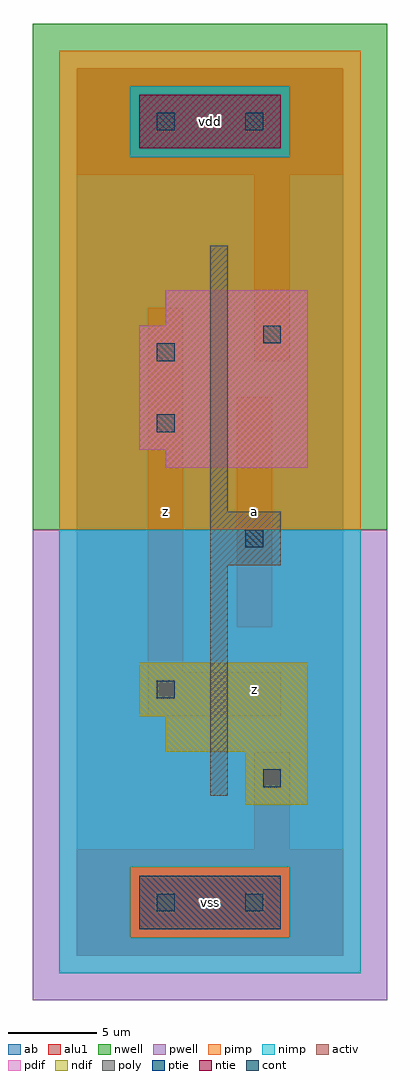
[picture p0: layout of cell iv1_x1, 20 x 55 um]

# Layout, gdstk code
import gdstk
lib = gdstk.Library(unit=1e-6, precision=1e-09)
def R(c, l, rs):  # rectangles x0, y0, x1, y1
    for r in rs: c.add(gdstk.rectangle(r[:2], r[2:], *l))
ndif = (3, 0)
pdif = (4, 0)
ntie = (5, 0)
ptie = (6, 0)
cont = (25, 0)
pwell = (41, 0)
nwell = (42, 0)
activ = (43, 0)
pimp = (44, 0)
nimp = (45, 0)
poly = (46, 0)
alu1 = (49, 0)
ab = (63, 0)

iv1_x1 = lib.new_cell('iv1_x1')
R(iv1_x1, ndif, [(9.5,8.5,13,11.5), (5,11.5,13,13.5), (3.5,13.5,13,16.5)])
R(iv1_x1, pdif, [(5,27.5,13,28.5), (3.5,28.5,13,35.5), (5,35.5,13,37.5)])
R(iv1_x1, ntie, [(3.5,45.5,11.5,48.5)])
R(iv1_x1, ptie, [(3.5,1.5,11.5,4.5)])
R(iv1_x1, cont, [(4.5,2.5,5.5,3.5), (9.5,2.5,10.5,3.5), (10.5,9.5,11.5,10.5), (4.5,14.5,5.5,15.5), (9.5,23,10.5,24), (4.5,29.5,5.5,30.5), (4.5,33.5,5.5,34.5), (10.5,34.5,11.5,35.5), (4.5,46.5,5.5,47.5), (9.5,46.5,10.5,47.5)])
R(iv1_x1, pwell, [(-2.5,-2.5,17.5,24)])
R(iv1_x1, nwell, [(-2.5,24,17.5,52.5)])
R(iv1_x1, activ, [(3.5,1.5,11.5,4.5), (9.5,8.5,13,11.5), (5,11.5,13,13.5), (3.5,13.5,13,16.5), (5,27.5,13,28.5), (3.5,28.5,13,35.5), (5,35.5,13,37.5), (3.5,45.5,11.5,48.5)])
R(iv1_x1, pimp, [(3,1,12,5), (-1,24,16,45), (-1,45,3,49), (12,45,16,49), (-1,49,16,51)])
R(iv1_x1, nimp, [(-1,-1,16,1), (-1,1,3,5), (12,1,16,5), (-1,5,16,24), (3,45,12,49)])
R(iv1_x1, poly, [(7.5,9,8.5,22), (7.5,22,11.5,25), (7.5,25,8.5,40)])
R(iv1_x1, alu1, [(0,0,15,6), (0,0,15,6), (10,6,12,11.5), (10,6,12,11.5), (4,13.5,11.5,16), (4,13.5,11.5,16), (4,16,6,36.5), (4,16,6,36.5), (9,18.5,11,31.5), (9,18.5,11,31.5), (10,33.5,12,44), (10,33.5,12,44), (0,44,15,50), (0,44,15,50)])
R(iv1_x1, ab, [(0,0,15,50)])
iv1_x1.add(gdstk.Label('vss', (7.5,3), layer=49, texttype=0))
iv1_x1.add(gdstk.Label('z', (5,25), layer=49, texttype=0))
iv1_x1.add(gdstk.Label('vdd', (7.5,47), layer=49, texttype=0))
iv1_x1.add(gdstk.Label('z', (10,15), layer=49, texttype=0))
iv1_x1.add(gdstk.Label('a', (10,25), layer=49, texttype=0))

lib.write_gds('iv1_x1.gds')
